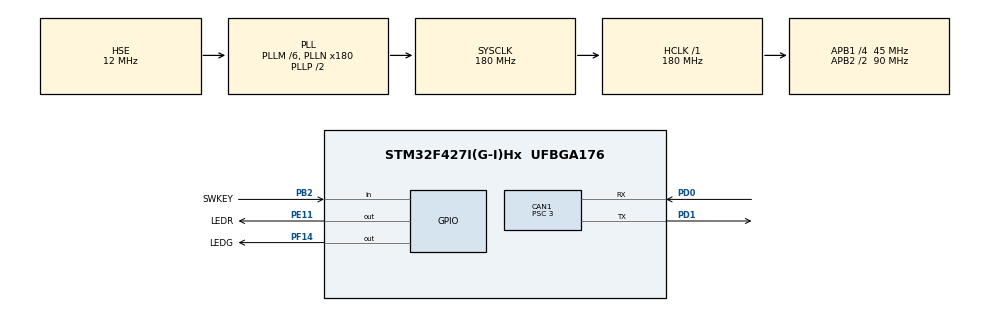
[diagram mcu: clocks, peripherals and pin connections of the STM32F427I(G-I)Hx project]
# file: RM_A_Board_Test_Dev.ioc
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CAN1.BS1=CAN_BS1_10TQ
CAN1.BS2=CAN_BS2_4TQ
CAN1.CalculateBaudRate=1000000
CAN1.CalculateTimeBit=1000
CAN1.CalculateTimeQuantum=66.66666666666666
CAN1.Prescaler=3
Mcu.Family=STM32F4
Mcu.Name=STM32F427I(G-I)Hx
Mcu.Package=UFBGA176
NVIC.CAN1_RX0_IRQn=true\:0\:0\:false\:false\:true\:true\:true\:true
NVIC.PriorityGroup=NVIC_PRIORITYGROUP_4
NVIC.TIM6_DAC_IRQn=true\:6\:0\:true\:false\:true\:true\:true\:true
NVIC.TIM7_IRQn=true\:0\:0\:true\:false\:true\:true\:true\:true
PA13.Mode=Serial_Wire
PA13.Signal=SYS_JTMS-SWDIO
PA14.Mode=Serial_Wire
PA14.Signal=SYS_JTCK-SWCLK
PB2/BOOT1.GPIO_Label=SWKEY
PB2/BOOT1.GPIO_PuPd=GPIO_PULLDOWN
PB2/BOOT1.Signal=GPIO_Input
PD0.Mode=CAN_Activate
PD0.Signal=CAN1_RX
PD1.Mode=CAN_Activate
PD1.Signal=CAN1_TX
PE11.GPIO_Label=LEDR
PE11.Signal=GPIO_Output
PF14.GPIO_Label=LEDG
PF14.Signal=GPIO_Output
PH0/OSC_IN.Mode=HSE-External-Oscillator
PH0/OSC_IN.Signal=RCC_OSC_IN
PH1/OSC_OUT.Mode=HSE-External-Oscillator
PH1/OSC_OUT.Signal=RCC_OSC_OUT
ProjectManager.HeapSize=0x200
ProjectManager.StackSize=0x400
ProjectManager.TargetToolchain=CMake
RCC.48MHZClocksFreq_Value=90000000
RCC.AHBFreq_Value=180000000
RCC.APB1CLKDivider=RCC_HCLK_DIV4
RCC.APB1Freq_Value=45000000
RCC.APB1TimFreq_Value=90000000
RCC.APB2CLKDivider=RCC_HCLK_DIV2
RCC.APB2Freq_Value=90000000
RCC.APB2TimFreq_Value=180000000
RCC.CortexFreq_Value=180000000
RCC.HCLKFreq_Value=180000000
RCC.HSE_VALUE=12000000
RCC.HSI_VALUE=16000000
RCC.LSE_VALUE=32768
RCC.PLLM=6
RCC.PLLN=180
RCC.PLLSourceVirtual=RCC_PLLSOURCE_HSE
RCC.SYSCLKFreq_VALUE=180000000
RCC.SYSCLKSource=RCC_SYSCLKSOURCE_PLLCLK
RCC.VCOOutputFreq_Value=360000000
TIM6.Period=1000 -1
TIM6.Prescaler=180 - 1
TIM7.Period=1000-1
TIM7.Prescaler=180-1
VP_TIM6_VS_ClockSourceINT.Mode=Enable_Timer
VP_TIM7_VS_ClockSourceINT.Mode=Enable_Timer
board=custom

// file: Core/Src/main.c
/* USER CODE BEGIN Header */
/**
  ******************************************************************************
  * @file           : main.c
  * @brief          : Main program body
  ******************************************************************************
  * @attention
  *
  * Copyright (c) 2025 STMicroelectronics.
  * All rights reserved.
  *
  * This software is licensed under terms that can be found in the LICENSE file
  * in the root directory of this software component.
  * If no LICENSE file comes with this software, it is provided AS-IS.
  *
  ******************************************************************************
  */
/* USER CODE END Header */
#include "main.h"
#include "can.h"
#include "gpio.h"
#include "tim.h"

/* USER CODE BEGIN Includes */
#include "M3508_motor.h"
/* USER CODE END Includes */

/* USER CODE BEGIN PV */
CAN_RxHeaderTypeDef rx_header;
CAN_TxHeaderTypeDef tx_header = { .StdId = 0x200,
                                  .ExtId = 0,
                                  .IDE = CAN_ID_STD,
                                  .RTR = CAN_RTR_DATA,
                                  .DLC = 8,
                                  .TransmitGlobalTime = DISABLE };
CAN_FilterTypeDef filter_config = { .FilterIdHigh = 0x0000,
                                    .FilterIdLow = 0x0000,
                                    .FilterMaskIdHigh = 0x0000,
                                    .FilterMaskIdLow = 0x0000,
                                    .FilterFIFOAssignment = CAN_FILTER_FIFO0,
                                    .FilterBank = 0,
                                    .FilterMode = CAN_FILTERMODE_IDMASK,
                                    .FilterScale = CAN_FILTERSCALE_32BIT,
                                    .FilterActivation = ENABLE };

uint8_t rx_data[8];
uint8_t tx_data[8];

uint16_t angle = 0;
uint16_t speed = 0;
uint16_t current = 0;
uint8_t temperature = 0;

/* USER CODE END PV */

void SystemClock_Config(void);

int main(void) {

    /* MCU Configuration--------------------------------------------------------*/

    /* Reset of all peripherals, Initializes the Flash interface and the Systick. */
    HAL_Init();

    /* Configure the system clock */
    SystemClock_Config();

    /* Initialize all configured peripherals */
    MX_GPIO_Init();
    MX_CAN1_Init();
    MX_TIM6_Init();
    MX_TIM7_Init();
    /* USER CODE BEGIN 2 */
    //CAN 过滤规则配置

    HAL_CAN_ConfigFilter(&hcan1, &filter_config);
    //启动CAN控制器
    HAL_CAN_Start(&hcan1);
    //Motor 初始化
    MotorInit();
    //激活CAN接收中断
    HAL_CAN_ActivateNotification(&hcan1, CAN_IT_RX_FIFO0_MSG_PENDING);
    //启动timers并使能中断
    HAL_TIM_Base_Start_IT(&htim6);
    HAL_TIM_Base_Start_IT(&htim7);

    //test
    tx_data[0] = 0x00;
    tx_data[1] = 0x00;
    tx_data[2] = 0x00;
    tx_data[3] = 0x00;
    tx_data[4] = 0x00;
    tx_data[5] = 0x00;
    tx_data[6] = 0x00;
    tx_data[7] = 0x00;

    angle = 0;
    speed = 0;
    current = 0;
    temperature = 0;

    //测试代码
    MotorTest();

    /* USER CODE END 2 */

    /* Infinite loop */
    /* USER CODE BEGIN WHILE */
    while (1) {
        //最大电流值
        // uint16_t currentMax = 16383;
        // //设定电流值
        // float current_A = 0.55f;
        // //输出值
        // int16_t current_value = (int16_t)(currentMax * (current_A / 20.0f ) * sinf(  0.5 * HAL_GetTick() / 1000.f ));
        // //压缩后的16bit数据
        // uint16_t compressed_value;
        // if (current_value < 0) {
        //   compressed_value = 0;
        // } else if (current_value > 0xFFFF) {
        //   compressed_value = 0xFFFF;
        // } else {
        //   compressed_value = (uint16_t)current_value;
        // }
        // //写入至TX data
        // tx_data[3] = compressed_value & 0xFF;//高字节
        // tx_data[2] = (compressed_value >> 8) & 0xFF;//低字节
        /* USER CODE END WHILE */

    }
}

void SystemClock_Config(void) {
    RCC_OscInitTypeDef RCC_OscInitStruct = { 0 };
    RCC_ClkInitTypeDef RCC_ClkInitStruct = { 0 };

    /** Configure the main internal regulator output voltage
  */
    __HAL_RCC_PWR_CLK_ENABLE();
    __HAL_PWR_VOLTAGESCALING_CONFIG(PWR_REGULATOR_VOLTAGE_SCALE1);

    /** Initializes the RCC Oscillators according to the specified parameters
  * in the RCC_OscInitTypeDef structure.
  */
    RCC_OscInitStruct.OscillatorType = RCC_OSCILLATORTYPE_HSE;
    RCC_OscInitStruct.HSEState = RCC_HSE_ON;
    RCC_OscInitStruct.PLL.PLLState = RCC_PLL_ON;
    RCC_OscInitStruct.PLL.PLLSource = RCC_PLLSOURCE_HSE;
    RCC_OscInitStruct.PLL.PLLM = 6;
    RCC_OscInitStruct.PLL.PLLN = 180;
    RCC_OscInitStruct.PLL.PLLP = RCC_PLLP_DIV2;
    RCC_OscInitStruct.PLL.PLLQ = 4;
    if (HAL_RCC_OscConfig(&RCC_OscInitStruct) != HAL_OK) {
        Error_Handler();
    }

    /** Activate the Over-Drive mode
  */
    if (HAL_PWREx_EnableOverDrive() != HAL_OK) {
        Error_Handler();
    }

    /** Initializes the CPU, AHB and APB buses clocks
  */
    RCC_ClkInitStruct.ClockType = RCC_CLOCKTYPE_HCLK | RCC_CLOCKTYPE_SYSCLK | RCC_CLOCKTYPE_PCLK1 | RCC_CLOCKTYPE_PCLK2;
    RCC_ClkInitStruct.SYSCLKSource = RCC_SYSCLKSOURCE_PLLCLK;
    RCC_ClkInitStruct.AHBCLKDivider = RCC_SYSCLK_DIV1;
    RCC_ClkInitStruct.APB1CLKDivider = RCC_HCLK_DIV4;
    RCC_ClkInitStruct.APB2CLKDivider = RCC_HCLK_DIV2;

    if (HAL_RCC_ClockConfig(&RCC_ClkInitStruct, FLASH_LATENCY_5) != HAL_OK) {
        Error_Handler();
    }
}

void Error_Handler(void) {
    __disable_irq();
    while (1) {
    }
}
